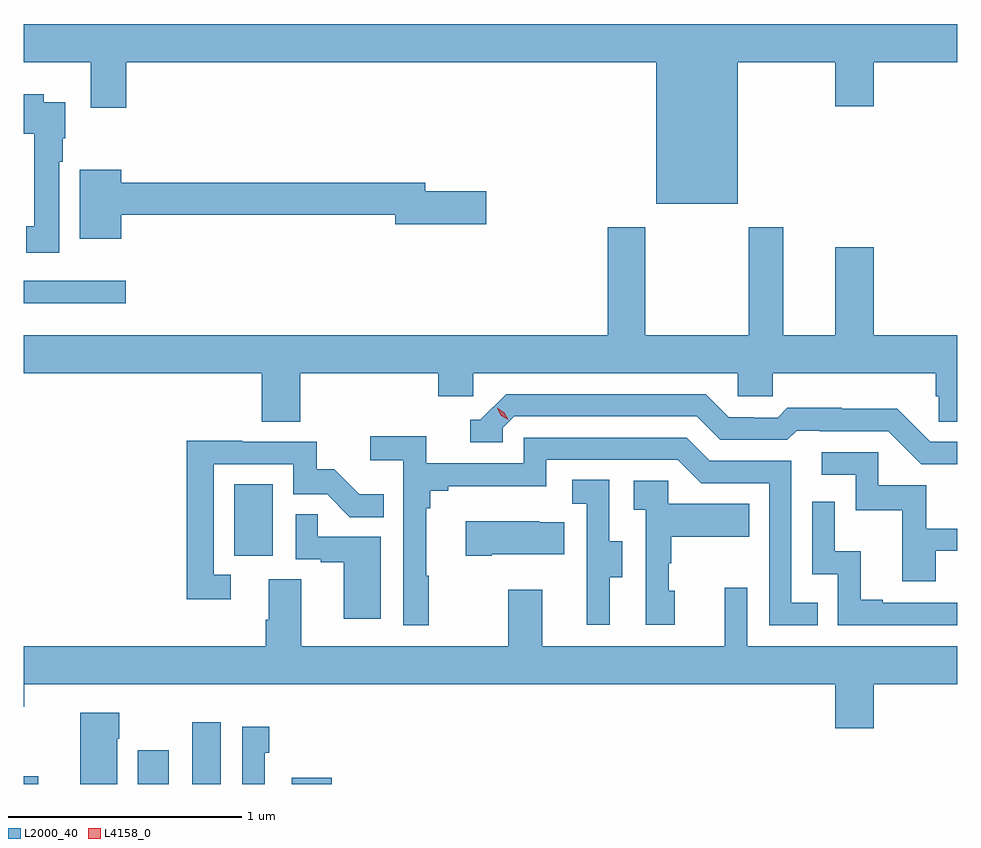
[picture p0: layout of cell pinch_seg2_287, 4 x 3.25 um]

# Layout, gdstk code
import gdstk
lib = gdstk.Library(unit=1e-6, precision=1e-09)
def R(c, l, rs):  # rectangles x0, y0, x1, y1
    for r in rs: c.add(gdstk.rectangle(r[:2], r[2:], *l))
def P(c, l, *ps):  # polygons
    for p in ps: c.add(gdstk.Polygon(p, *l))
L2000_40 = (2000, 40)
L4158_0 = (4158, 0)

pinch_seg2_287 = lib.new_cell('pinch_seg2_287')
R(pinch_seg2_287, L2000_40, [(928.763,643.213,928.825,643.246), (929.252,643.213,929.386,643.357), (929.486,643.213,929.608,643.477), (929.912,643.213,930.083,643.24), (929.666,644.19,929.83,644.497), (928.763,645.272,929.2,645.369)])
P(pinch_seg2_287, L2000_40, [(931.822,646.304),(932.24,646.304),(932.24,646.116),(932.404,646.116),(932.404,646.304),(932.763,646.304),(932.763,646.468),(928.763,646.468),(928.763,646.304),(929.051,646.304),(929.051,646.11),(929.204,646.11),(929.204,646.304),(931.472,646.304),(931.472,645.698),(931.822,645.698)],
  [(928.915,645.878),(928.93,645.878),(928.93,645.978),(928.942,645.978),(928.942,646.132),(928.849,646.132),(928.849,646.168),(928.763,646.168),(928.763,645.998),(928.808,645.998),(928.808,645.601),(928.775,645.601),(928.775,645.489),(928.915,645.489)],
  [(929.182,645.652),(930.356,645.652),(930.356,645.61),(930.745,645.61),(930.745,645.752),(930.484,645.752),(930.484,645.788),(929.182,645.788),(929.182,645.844),(929.003,645.844),(929.003,645.548),(929.182,645.548)],
  [(929.948,644.972),(930.539,644.972),(930.539,644.874),(930.69,644.874),(930.69,644.972),(931.821,644.972),(931.821,644.874),(931.971,644.874),(931.971,644.972),(932.669,644.972),(932.669,644.874),(932.683,644.874),(932.683,644.764),(932.763,644.764),(932.763,645.136),(932.404,645.136),(932.404,645.511),(932.24,645.511),(932.24,645.136),(932.017,645.136),(932.017,645.598),(931.87,645.598),(931.87,645.136),(931.425,645.136),(931.425,645.598),(931.265,645.598),(931.265,645.136),(928.763,645.136),(928.763,644.972),(929.783,644.972),(929.783,644.764),(929.948,644.764)],
  [(932.763,644.679),(932.646,644.679),(932.504,644.821),(932.268,644.821),(932.268,644.824),(932.035,644.824),(931.993,644.781),(931.89,644.781),(931.89,644.784),(931.783,644.784),(931.684,644.883),(930.831,644.883),(930.72,644.772),(930.677,644.772),(930.677,644.676),(930.816,644.676),(930.816,644.739),(930.864,644.787),(931.647,644.787),(931.746,644.688),(932.035,644.688),(932.074,644.727),(932.173,644.727),(932.173,644.724),(932.466,644.724),(932.607,644.583),(932.763,644.583)],
  [(930.499,644.105),(930.487,644.105),(930.487,644.393),(930.506,644.393),(930.506,644.47),(930.583,644.47),(930.583,644.489),(931.002,644.489),(931.002,644.601),(931.566,644.601),(931.665,644.502),(931.956,644.502),(931.956,643.893),(932.165,643.893),(932.165,643.989),(932.052,643.989),(932.052,644.598),(931.702,644.598),(931.603,644.697),(930.906,644.697),(930.906,644.586),(930.488,644.586),(930.488,644.702),(930.249,644.702),(930.249,644.6),(930.39,644.6),(930.39,643.893),(930.499,643.893)],
  [(929.65,644.109),(929.577,644.109),(929.577,644.583),(929.919,644.583),(929.919,644.454),(930.063,644.454),(930.161,644.356),(930.305,644.356),(930.305,644.455),(930.201,644.455),(930.094,644.562),(930.018,644.562),(930.018,644.679),(929.699,644.679),(929.699,644.684),(929.461,644.684),(929.461,644.004),(929.65,644.004)],
  [(932.671,644.211),(932.763,644.211),(932.763,644.307),(932.629,644.307),(932.629,644.493),(932.424,644.493),(932.424,644.634),(932.181,644.634),(932.181,644.538),(932.328,644.538),(932.328,644.385),(932.527,644.385),(932.527,644.082),(932.671,644.082)],
  [(931.273,644.098),(931.327,644.098),(931.327,644.253),(931.272,644.253),(931.272,644.516),(931.113,644.516),(931.113,644.413),(931.176,644.413),(931.176,644.109),(931.175,644.109),(931.175,643.896),(931.273,643.896)],
  [(931.552,644.04),(931.527,644.04),(931.527,644.159),(931.537,644.159),(931.537,644.273),(931.871,644.273),(931.871,644.413),(931.524,644.413),(931.524,644.511),(931.377,644.511),(931.377,644.387),(931.428,644.387),(931.428,643.896),(931.552,643.896)],
  [(932.763,643.989),(932.443,643.989),(932.443,644.002),(932.348,644.002),(932.348,644.21),(932.238,644.21),(932.238,644.422),(932.142,644.422),(932.142,644.112),(932.25,644.112),(932.25,643.893),(932.763,643.893)],
  [(930.292,644.271),(930.023,644.271),(930.023,644.369),(929.928,644.369),(929.928,644.175),(930.035,644.175),(930.035,644.163),(930.134,644.163),(930.134,643.92),(930.292,643.92)],
  [(930.769,644.198),(931.079,644.198),(931.079,644.335),(930.971,644.335),(930.971,644.338),(930.657,644.338),(930.657,644.191),(930.769,644.191)],
  [(932.404,643.64),(932.763,643.64),(932.763,643.804),(931.863,643.804),(931.863,644.053),(931.766,644.053),(931.766,643.804),(930.985,643.804),(930.985,644.044),(930.838,644.044),(930.838,643.804),(929.953,643.804),(929.953,644.09),(929.813,644.09),(929.813,643.916),(929.801,643.916),(929.801,643.804),(928.763,643.804),(928.763,643.544),(928.766,643.544),(928.766,643.64),(932.24,643.64),(932.24,643.452),(932.404,643.452)],
  [(929.164,643.406),(929.172,643.406),(929.172,643.519),(929.006,643.519),(929.006,643.213),(929.164,643.213)],
  [(929.796,643.346),(929.816,643.346),(929.816,643.459),(929.7,643.459),(929.7,643.213),(929.796,643.213)])
P(pinch_seg2_287, L4158_0, [(930.838,644.772),(930.808,644.791),(930.791,644.823),(930.791,644.824),(930.791,644.824),(930.822,644.804),(930.839,644.772),(930.839,644.772)])

lib.write_gds('pinch_seg2_287.gds')
